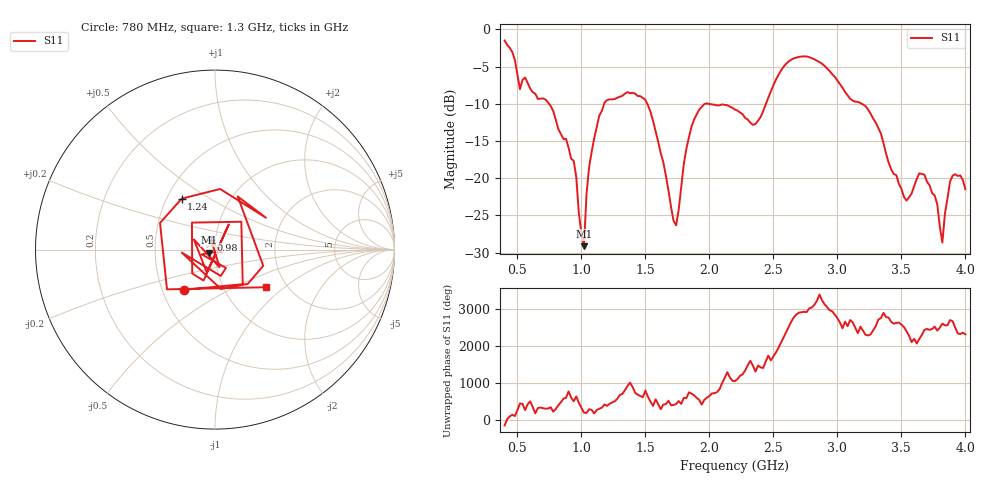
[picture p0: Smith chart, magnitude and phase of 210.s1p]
!Created with skrf (http://scikit-rf.org).
# Hz S RI R 50.0
!freq ReS11 ImS11
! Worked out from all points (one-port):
!   181 points, 400 MHz to 4 GHz, reference 50 ohm
!   lowest |S11| = -29.1 dB at 1.02 GHz (marker M1), VSWR 1.07, Z = 47 - j1.56 ohm
!   |S11| at or under -10 dB: 1.515 GHz to 1.966 GHz (450.6 MHz wide, 25.9 % of centre); 1.996 GHz to 2.442 GHz (445.7 MHz wide, 20.1 % of centre); 3.192 GHz to end of sweep (the widest 3 of 4)
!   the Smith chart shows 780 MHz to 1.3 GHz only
!   S11 on the Smith chart (normalised r, x): 780 MHz: 0.65, -0.31; 980 MHz: 0.95, +0.10; 1.24 GHz: 0.60, +0.38; 1.3 GHz: 1.57, -0.75
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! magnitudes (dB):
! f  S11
! 400 MHz  -1.5
! 520 MHz  -8.0
! 560 MHz  -6.5
! 780 MHz  -11.0
! 860 MHz  -14.7
! 940 MHz  -17.7
! 980 MHz  -24.7
! 1.02 GHz  -29.1
! 1.04 GHz  -22.1
! 1.1 GHz  -14.6
! 1.24 GHz  -9.4
! 1.3 GHz  -9.0
! 1.5 GHz  -9.5
! 1.72 GHz  -25.7
! 1.76 GHz  -24.2
! 1.82 GHz  -16.0
! 1.92 GHz  -10.8
! 2.2 GHz  -10.8
! 2.36 GHz  -12.7
! 2.66 GHz  -3.9
! 3.1 GHz  -9.3
! 3.26 GHz  -11.3
! 3.56 GHz  -22.6
! 3.68 GHz  -19.5
! 3.78 GHz  -23.5
! 3.82 GHz  -28.6
! 3.88 GHz  -20.5
! 4 GHz  -21.5
